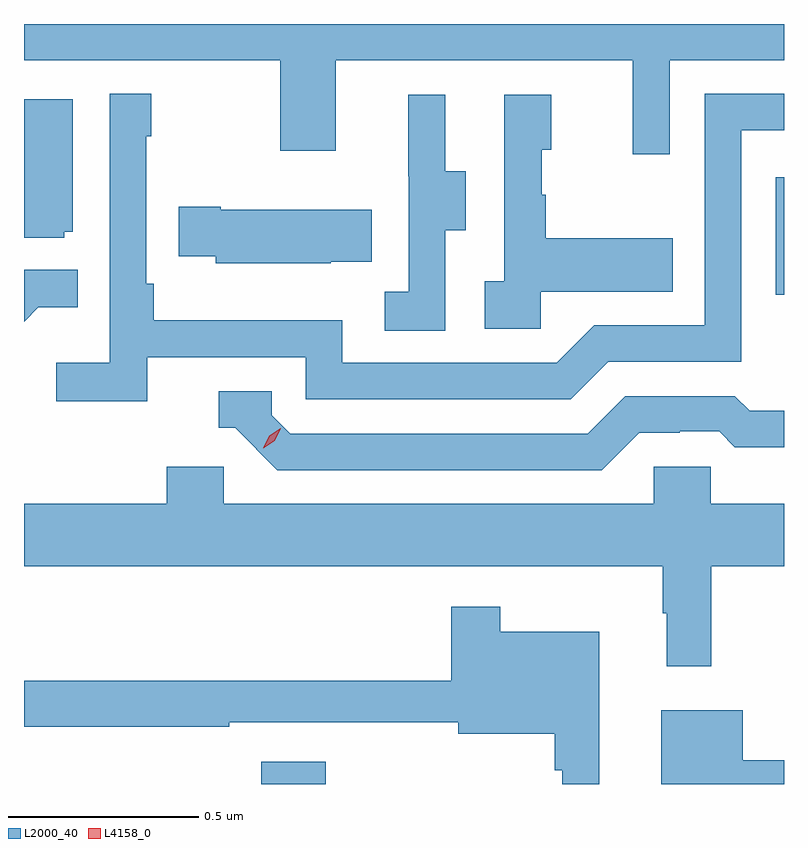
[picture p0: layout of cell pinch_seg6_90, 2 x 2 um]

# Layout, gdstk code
import gdstk
lib = gdstk.Library(unit=1e-6, precision=1e-09)
def R(c, l, rs):  # rectangles x0, y0, x1, y1
    for r in rs: c.add(gdstk.rectangle(r[:2], r[2:], *l))
def P(c, l, *ps):  # polygons
    for p in ps: c.add(gdstk.Polygon(p, *l))
L2000_40 = (2000, 40)
L4158_0 = (4158, 0)

pinch_seg6_90 = lib.new_cell('pinch_seg6_90')
R(pinch_seg6_90, L2000_40, [(942.11,929.447,942.28,929.506), (943.464,930.735,943.486,931.044)])
P(pinch_seg6_90, L2000_40, [(943.185,931.352),(943.486,931.352),(943.486,931.447),(941.486,931.447),(941.486,931.352),(942.16,931.352),(942.16,931.113),(942.307,931.113),(942.307,931.352),(943.088,931.352),(943.088,931.104),(943.185,931.104)],
  [(941.81,930.57),(942.228,930.57),(942.228,930.459),(942.925,930.459),(943.024,930.558),(943.374,930.558),(943.374,931.167),(943.486,931.167),(943.486,931.263),(943.278,931.263),(943.278,930.654),(942.987,930.654),(942.888,930.555),(942.324,930.555),(942.324,930.667),(941.828,930.667),(941.828,930.763),(941.808,930.763),(941.808,931.151),(941.821,931.151),(941.821,931.264),(941.712,931.264),(941.712,930.556),(941.571,930.556),(941.571,930.454),(941.81,930.454)],
  [(942.594,930.904),(942.649,930.904),(942.649,931.059),(942.595,931.059),(942.595,931.261),(942.497,931.261),(942.497,931.047),(942.498,931.047),(942.498,930.743),(942.435,930.743),(942.435,930.64),(942.594,930.64)],
  [(942.846,930.743),(943.193,930.743),(943.193,930.883),(942.859,930.883),(942.859,930.998),(942.849,930.998),(942.849,931.116),(942.874,931.116),(942.874,931.261),(942.75,931.261),(942.75,930.77),(942.699,930.77),(942.699,930.645),(942.846,930.645)],
  [(941.592,930.9),(941.614,930.9),(941.614,931.249),(941.486,931.249),(941.486,930.885),(941.592,930.885)],
  [(942.293,930.821),(942.401,930.821),(942.401,930.958),(942.004,930.958),(942.004,930.966),(941.893,930.966),(941.893,930.836),(941.991,930.836),(941.991,930.818),(942.293,930.818)],
  [(941.523,930.701),(941.627,930.701),(941.627,930.8),(941.486,930.8),(941.486,930.664)],
  [(943.105,930.372),(943.212,930.372),(943.212,930.375),(943.315,930.375),(943.357,930.333),(943.486,930.333),(943.486,930.429),(943.396,930.429),(943.357,930.468),(943.068,930.468),(942.969,930.369),(942.186,930.369),(942.138,930.417),(942.138,930.48),(941.999,930.48),(941.999,930.384),(942.042,930.384),(942.153,930.273),(943.006,930.273)],
  [(943.295,930.02),(943.486,930.02),(943.486,930.184),(943.293,930.184),(943.293,930.282),(943.143,930.282),(943.143,930.184),(942.012,930.184),(942.012,930.282),(941.861,930.282),(941.861,930.184),(941.486,930.184),(941.486,930.02),(943.167,930.02),(943.167,929.897),(943.178,929.897),(943.178,929.757),(943.295,929.757)],
  [(943,929.848),(942.739,929.848),(942.739,929.914),(942.61,929.914),(942.61,929.719),(941.486,929.719),(941.486,929.598),(942.026,929.598),(942.026,929.61),(942.376,929.61),(942.376,929.609),(942.629,929.609),(942.629,929.579),(942.883,929.579),(942.883,929.483),(942.903,929.483),(942.903,929.447),(943,929.447)],
  [(943.486,929.51),(943.378,929.51),(943.378,929.641),(943.163,929.641),(943.163,929.447),(943.486,929.447)])
P(pinch_seg6_90, L4158_0, [(942.116,930.33),(942.116,930.33),(942.131,930.363),(942.162,930.383),(942.162,930.383),(942.162,930.383),(942.146,930.35),(942.116,930.33)])

lib.write_gds('pinch_seg6_90.gds')
